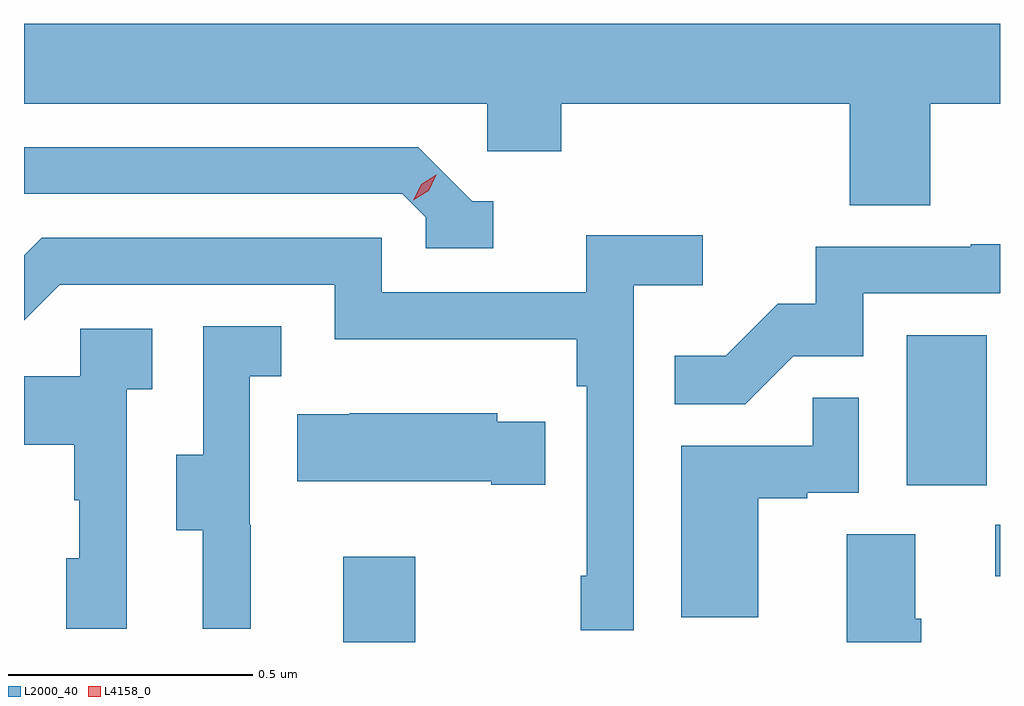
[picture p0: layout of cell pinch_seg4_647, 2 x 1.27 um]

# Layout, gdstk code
import gdstk
lib = gdstk.Library(unit=1e-6, precision=1e-09)
def R(c, l, rs):  # rectangles x0, y0, x1, y1
    for r in rs: c.add(gdstk.rectangle(r[:2], r[2:], *l))
def P(c, l, *ps):  # polygons
    for p in ps: c.add(gdstk.Polygon(p, *l))
L2000_40 = (2000, 40)
L4158_0 = (4158, 0)

pinch_seg4_647 = lib.new_cell('pinch_seg4_647')
R(pinch_seg4_647, L2000_40, [(1058.645,758.42,1058.793,758.596), (1059.981,758.556,1059.991,758.661), (1059.8,758.742,1059.964,759.049)])
P(pinch_seg4_647, L2000_40, [(1059.848,759.524),(1059.991,759.524),(1059.991,759.688),(1057.991,759.688),(1057.991,759.524),(1058.94,759.524),(1058.94,759.426),(1059.092,759.426),(1059.092,759.524),(1059.683,759.524),(1059.683,759.316),(1059.848,759.316)],
  [(1058.953,759.324),(1058.91,759.324),(1058.799,759.435),(1057.991,759.435),(1057.991,759.339),(1058.766,759.339),(1058.814,759.291),(1058.814,759.228),(1058.953,759.228)],
  [(1059.24,759.152),(1059.382,759.152),(1059.382,759.254),(1059.143,759.254),(1059.143,759.138),(1058.724,759.138),(1058.724,759.249),(1058.027,759.249),(1057.991,759.213),(1057.991,759.08),(1058.064,759.153),(1058.628,759.153),(1058.628,759.041),(1059.124,759.041),(1059.124,758.945),(1059.144,758.945),(1059.144,758.557),(1059.132,758.557),(1059.132,758.445),(1059.24,758.445)],
  [(1059.567,759.006),(1059.711,759.006),(1059.711,759.135),(1059.991,759.135),(1059.991,759.236),(1059.931,759.236),(1059.931,759.231),(1059.613,759.231),(1059.613,759.114),(1059.536,759.114),(1059.429,759.007),(1059.325,759.007),(1059.325,758.908),(1059.469,758.908)],
  [(1058.456,758.661),(1058.454,758.661),(1058.454,758.965),(1058.518,758.965),(1058.518,759.068),(1058.358,759.068),(1058.358,758.805),(1058.303,758.805),(1058.303,758.65),(1058.357,758.65),(1058.357,758.448),(1058.456,758.448)],
  [(1058.202,758.939),(1058.254,758.939),(1058.254,759.063),(1058.106,759.063),(1058.106,758.965),(1057.991,758.965),(1057.991,758.825),(1058.094,758.825),(1058.094,758.711),(1058.104,758.711),(1058.104,758.592),(1058.078,758.592),(1058.078,758.448),(1058.202,758.448)],
  [(1059.496,758.715),(1059.596,758.715),(1059.596,758.727),(1059.702,758.727),(1059.702,758.921),(1059.607,758.921),(1059.607,758.823),(1059.338,758.823),(1059.338,758.472),(1059.496,758.472)],
  [(1059.059,758.872),(1058.961,758.872),(1058.961,758.89),(1058.659,758.89),(1058.659,758.887),(1058.551,758.887),(1058.551,758.75),(1058.948,758.75),(1058.948,758.743),(1059.059,758.743)],
  [(1059.83,758.468),(1059.817,758.468),(1059.817,758.642),(1059.677,758.642),(1059.677,758.42),(1059.83,758.42)])
P(pinch_seg4_647, L4158_0, [(1058.789,759.326),(1058.789,759.326),(1058.805,759.359),(1058.836,759.378),(1058.836,759.378),(1058.836,759.378),(1058.82,759.345),(1058.789,759.326)])

lib.write_gds('pinch_seg4_647.gds')
